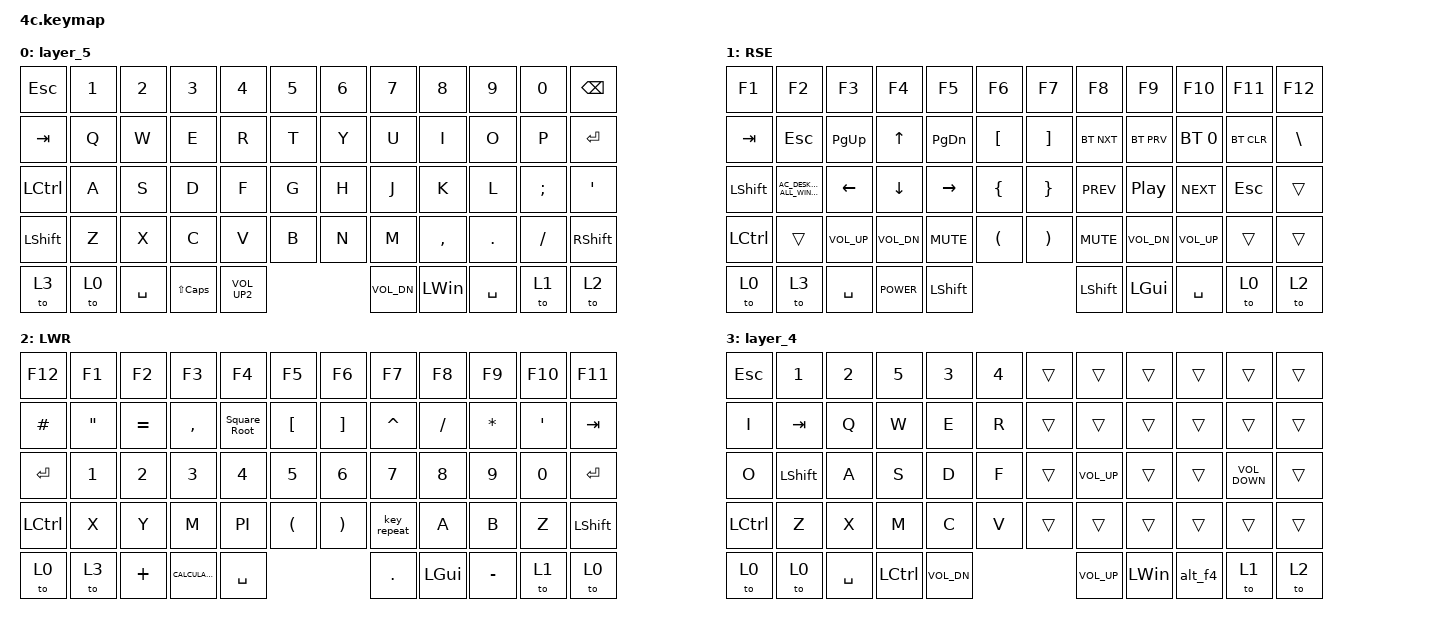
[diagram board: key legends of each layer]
/*
 * Copyright (c) 2020 The ZMK Contributors
 *
 * SPDX-License-Identifier: MIT
 */
/* THIS FILE WAS GENERATED!
 *
 * This file was generated automatically. You may or may not want to
 * edit it directly.
 */

#include <behaviors.dtsi>
#include <dt-bindings/zmk/bt.h>
#include <dt-bindings/zmk/keys.h>
#include <dt-bindings/zmk/keys.h>

/ {
    combos {
        compatible = "zmk,combos";
    };

    macros {
        codeFence: codeFence {
            compatible = "zmk,behavior-macro";
            label = "new_macro";
            #binding-cells = <0>;
            bindings =
                <&kp GRAVE &kp GRAVE &kp GRAVE &kp RET &kp RET &kp GRAVE &kp GRAVE &kp GRAVE &kp UP>,
                <&macro_press>;
        };

        alt_f4: alt_f4 {
            compatible = "zmk,behavior-macro";
            label = "ALT_F4";
            #binding-cells = <0>;
            bindings = <&kp LALT &kp F4>;
        };

        Square_Root: Square_Root {
            compatible = "zmk,behavior-macro";
            label = "SQUARE_ROOT";
            #binding-cells = <0>;
            bindings = <&kt LEFT_ALT &kp KP_NUMBER_2 &kp KP_NUMBER_5 &kp KP_NUMBER_1 &kt LEFT_ALT>;
        };

        PI: PI {
            compatible = "zmk,behavior-macro";
            label = "PI";
            #binding-cells = <0>;
            bindings = <&kt LEFT_ALT &kp KP_NUMBER_2 &kp KP_NUMBER_2 &kp KP_NUMBER_7 &kt LEFT_ALT>;
        };
    };

    keymap {
        compatible = "zmk,keymap";

        layer_5 {
            bindings = <
&kp ESC    &kp N1  &kp N2     &kp N3            &kp N4            &kp N5    &kp N6  &kp N7        &kp N8     &kp N9     &kp N0    &kp BACKSPACE
&kp TAB    &kp Q   &kp W      &kp E             &kp R             &kp T     &kp Y   &kp U         &kp I      &kp O      &kp P     &kp RET
&kp LCTRL  &kp A   &kp S      &kp D             &kp F             &kp G     &kp H   &kp J         &kp K      &kp L      &kp SEMI  &kp SQT
&kp LSHFT  &kp Z   &kp X      &kp C             &kp V             &kp B     &kp N   &kp M         &kp COMMA  &kp DOT    &kp FSLH  &kp RSHFT
&to 3      &to 0   &kp SPACE  &kp LS(CAPSLOCK)  &kp K_VOLUME_UP2                    &kp C_VOL_DN  &kp LWIN   &kp SPACE  &to 1     &to 2
            >;
        };

        RSE {
            bindings = <
&kp F1          &kp F2                             &kp F3           &kp F4          &kp F5          &kp F6                  &kp F7                 &kp F8          &kp F9        &kp F10       &kp F11     &kp F12
&kp TAB         &kp ESC                            &kp PAGE_UP      &kp UP_ARROW    &kp PAGE_DOWN   &kp LEFT_BRACKET        &kp RIGHT_BRACKET      &bt BT_NXT      &bt BT_PRV    &bt BT_SEL 0  &bt BT_CLR  &kp BACKSLASH
&kp LEFT_SHIFT  &kp C_AC_DESKTOP_SHOW_ALL_WINDOWS  &kp LEFT_ARROW   &kp DOWN_ARROW  &kp RIGHT       &kp LEFT_BRACE          &kp RIGHT_BRACE        &kp C_PREV      &kp C_PP      &kp C_NEXT    &kp ESC     &trans
&kp LCTRL       &trans                             &kp C_VOLUME_UP  &kp C_VOL_DN    &kp K_MUTE      &kp LEFT_PARENTHESIS    &kp RIGHT_PARENTHESIS  &kp K_MUTE      &kp C_VOL_DN  &kp C_VOL_UP  &trans      &trans
&to 0           &to 3                              &kp SPACE        &kp C_POWER     &kp LEFT_SHIFT                                                 &kp LEFT_SHIFT  &kp LEFT_GUI  &kp SPACE     &to 0       &to 2
            >;
        };

        LWR {
            bindings = <
&kp F12    &kp F1             &kp F2        &kp F3            &kp F4        &kp F5                  &kp F6                 &kp F7       &kp F8        &kp F9        &kp F10           &kp F11
&kp HASH   &kp DOUBLE_QUOTES  &kp EQUAL     &kp COMMA         &Square_Root  &kp LEFT_BRACKET        &kp RIGHT_BRACKET      &kp CARET    &kp SLASH     &kp ASTERISK  &kp SINGLE_QUOTE  &kp TAB
&kp ENTER  &kp NUMBER_1       &kp NUMBER_2  &kp NUMBER_3      &kp NUMBER_4  &kp NUMBER_5            &kp NUMBER_6           &kp N7       &kp N8        &kp N9        &kp N0            &kp ENTER
&kp LCTRL  &kp X              &kp Y         &kp M             &PI           &kp LEFT_PARENTHESIS    &kp RIGHT_PARENTHESIS  &key_repeat  &kp A         &kp B         &kp Z             &kp LSHFT
&to 0      &to 3              &kp PLUS      &kp K_CALCULATOR  &kp SPACE                                                    &kp PERIOD   &kp LEFT_GUI  &kp MINUS     &to 1             &to 0
            >;
        };

        layer_4 {
            bindings = <
&kp ESCAPE  &kp NUMBER_1    &kp NUMBER_2  &kp N5     &kp NUMBER_3  &kp NUMBER_4    &trans  &trans           &trans        &trans   &trans             &trans
&kp I       &kp TAB         &kp Q         &kp W      &kp E         &kp R           &trans  &trans           &trans        &trans   &trans             &trans
&kp O       &kp LEFT_SHIFT  &kp A         &kp S      &kp D         &kp F           &trans  &kp C_VOL_UP     &trans        &trans   &kp C_VOLUME_DOWN  &trans
&kp LCTRL   &kp Z           &kp X         &kp M      &kp C         &kp V           &trans  &trans           &trans        &trans   &trans             &trans
&to 0       &to 0           &kp SPACE     &kp LCTRL  &kp C_VOL_DN                          &kp C_VOLUME_UP  &kp LEFT_WIN  &alt_f4  &to 1              &to 2
            >;
        };
    };
};
